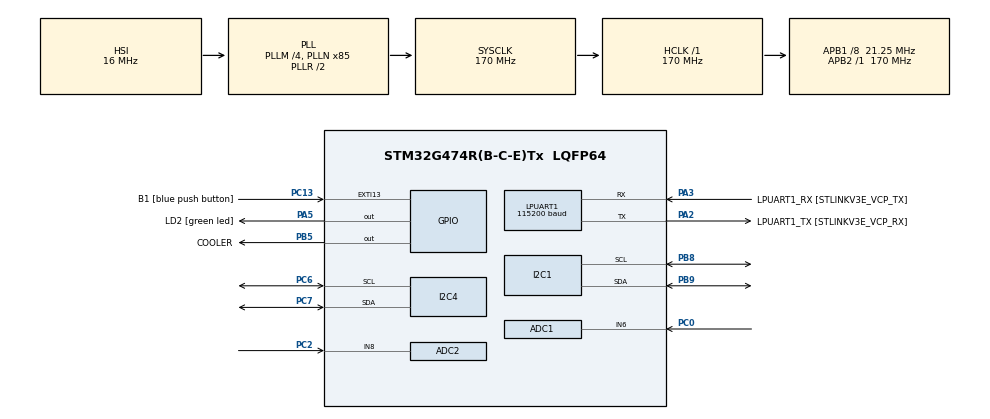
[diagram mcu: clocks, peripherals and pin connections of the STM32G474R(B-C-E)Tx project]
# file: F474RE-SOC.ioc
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ADC1.Channel-0\#ChannelRegularConversion=ADC_CHANNEL_6
ADC1.NbrOfConversionFlag=1
ADC1.OffsetNumber-0\#ChannelRegularConversion=ADC_OFFSET_NONE
ADC1.Rank-0\#ChannelRegularConversion=1
ADC1.SamplingTime-0\#ChannelRegularConversion=ADC_SAMPLETIME_2CYCLES_5
ADC1.master=1
ADC2.Channel-0\#ChannelRegularConversion=ADC_CHANNEL_8
ADC2.NbrOfConversionFlag=1
ADC2.OffsetNumber-0\#ChannelRegularConversion=ADC_OFFSET_NONE
ADC2.Rank-0\#ChannelRegularConversion=1
ADC2.SamplingTime-0\#ChannelRegularConversion=ADC_SAMPLETIME_2CYCLES_5
Dma.LPUART1_RX.0.Direction=DMA_PERIPH_TO_MEMORY
Dma.LPUART1_RX.0.EventEnable=DISABLE
Dma.LPUART1_RX.0.Instance=DMA1_Channel1
Dma.LPUART1_RX.0.MemDataAlignment=DMA_MDATAALIGN_BYTE
Dma.LPUART1_RX.0.MemInc=DMA_MINC_ENABLE
Dma.LPUART1_RX.0.Mode=DMA_CIRCULAR
Dma.LPUART1_RX.0.PeriphDataAlignment=DMA_PDATAALIGN_BYTE
Dma.LPUART1_RX.0.PeriphInc=DMA_PINC_DISABLE
Dma.LPUART1_RX.0.Polarity=HAL_DMAMUX_REQ_GEN_RISING
Dma.LPUART1_RX.0.Priority=DMA_PRIORITY_VERY_HIGH
Dma.LPUART1_RX.0.RequestNumber=1
Dma.LPUART1_RX.0.SignalID=NONE
Dma.LPUART1_RX.0.SyncEnable=DISABLE
Dma.LPUART1_RX.0.SyncPolarity=HAL_DMAMUX_SYNC_NO_EVENT
Dma.LPUART1_RX.0.SyncRequestNumber=1
Dma.LPUART1_RX.0.SyncSignalID=NONE
Dma.LPUART1_TX.1.Direction=DMA_MEMORY_TO_PERIPH
Dma.LPUART1_TX.1.EventEnable=DISABLE
Dma.LPUART1_TX.1.Instance=DMA1_Channel2
Dma.LPUART1_TX.1.MemDataAlignment=DMA_MDATAALIGN_BYTE
Dma.LPUART1_TX.1.MemInc=DMA_MINC_ENABLE
Dma.LPUART1_TX.1.Mode=DMA_NORMAL
Dma.LPUART1_TX.1.PeriphDataAlignment=DMA_PDATAALIGN_BYTE
Dma.LPUART1_TX.1.PeriphInc=DMA_PINC_DISABLE
Dma.LPUART1_TX.1.Polarity=HAL_DMAMUX_REQ_GEN_RISING
Dma.LPUART1_TX.1.Priority=DMA_PRIORITY_VERY_HIGH
Dma.LPUART1_TX.1.RequestNumber=1
Dma.LPUART1_TX.1.SignalID=NONE
Dma.LPUART1_TX.1.SyncEnable=DISABLE
Dma.LPUART1_TX.1.SyncPolarity=HAL_DMAMUX_SYNC_NO_EVENT
Dma.LPUART1_TX.1.SyncRequestNumber=1
Dma.LPUART1_TX.1.SyncSignalID=NONE
Dma.Request0=LPUART1_RX
Dma.Request1=LPUART1_TX
FREERTOS.Mutexes01=batteryCellSocMutex,Dynamic,NULL
FREERTOS.Tasks01=microROSTask,24,3100,microROSTaskFunction,Default,NULL,Dynamic,NULL,NULL;tempControlTask,8,128,temperatureControlTask,Default,NULL,Dynamic,NULL,NULL;BatteryState,24,300,BatteryStateFunction,Default,NULL,Dynamic,NULL,NULL;SocTask,40,128,SocTaskFunction,Default,NULL,Dynamic,NULL,NULL
FREERTOS.configTOTAL_HEAP_SIZE=24576
I2C1.Timing=0x0050527A
I2C4.Timing=0x0050527A
LPUART1.BaudRate=115200
LPUART1.WordLength=UART_WORDLENGTH_8B
Mcu.Family=STM32G4
Mcu.Name=STM32G474R(B-C-E)Tx
Mcu.Package=LQFP64
NVIC.DMA1_Channel1_IRQn=true\:5\:0\:false\:false\:true\:true\:false\:true
NVIC.DMA1_Channel2_IRQn=true\:5\:0\:false\:false\:true\:true\:false\:true
NVIC.EXTI15_10_IRQn=true\:5\:0\:false\:false\:true\:true\:true\:true
NVIC.LPUART1_IRQn=true\:5\:0\:false\:false\:true\:true\:true\:true
NVIC.PriorityGroup=NVIC_PRIORITYGROUP_4
NVIC.TIM6_DAC_IRQn=true\:15\:0\:false\:false\:true\:false\:false\:true
NVIC.TIM7_DAC_IRQn=true\:5\:0\:false\:false\:true\:true\:true\:true
NVIC.TimeBase=TIM6_DAC_IRQn
NVIC.TimeBaseIP=TIM6
PA13.GPIO_Label=T_SWDIO
PA13.Mode=Serial_Wire
PA13.Signal=SYS_JTMS-SWDIO
PA14.GPIO_Label=T_SWCLK
PA14.Mode=Serial_Wire
PA14.Signal=SYS_JTCK-SWCLK
PA2.GPIO_Label=LPUART1_TX [STLINKV3E_VCP_RX]
PA2.Mode=Asynchronous
PA2.Signal=LPUART1_TX
PA3.GPIO_Label=LPUART1_RX [STLINKV3E_VCP_TX]
PA3.Mode=Asynchronous
PA3.Signal=LPUART1_RX
PA5.GPIO_Label=LD2 [green led]
PA5.Signal=GPIO_Output
PB3.GPIO_Label=T_SWO
PB3.Signal=SYS_JTDO-SWO
PB5.GPIO_Label=COOLER
PB5.Signal=GPIO_Output
PB8-BOOT0.Mode=I2C
PB8-BOOT0.Signal=I2C1_SCL
PB9.Mode=I2C
PB9.Signal=I2C1_SDA
PC0.Mode=IN6-Single-Ended
PC0.Signal=ADC1_IN6
PC13.GPIO_Label=B1 [blue push button]
PC13.Signal=GPXTI13
PC14-OSC32_IN.Mode=LSE-External-Oscillator
PC14-OSC32_IN.Signal=RCC_OSC32_IN
PC15-OSC32_OUT.Mode=LSE-External-Oscillator
PC15-OSC32_OUT.Signal=RCC_OSC32_OUT
PC2.Mode=IN8-Single-Ended
PC2.Signal=ADC2_IN8
PC6.Mode=I2C
PC6.Signal=I2C4_SCL
PC7.Mode=I2C
PC7.Signal=I2C4_SDA
PF0-OSC_IN.Mode=HSE-External-Oscillator
PF0-OSC_IN.Signal=RCC_OSC_IN
PF1-OSC_OUT.Mode=HSE-External-Oscillator
PF1-OSC_OUT.Signal=RCC_OSC_OUT
ProjectManager.HeapSize=0x200
ProjectManager.StackSize=0x400
ProjectManager.TargetToolchain=STM32CubeIDE
RCC.ADC12Freq_Value=170000000
RCC.ADC345Freq_Value=170000000
RCC.AHBFreq_Value=170000000
RCC.APB1CLKDivider=RCC_HCLK_DIV8
RCC.APB1Freq_Value=21250000
RCC.APB1TimFreq_Value=42500000
RCC.APB2Freq_Value=170000000
RCC.APB2TimFreq_Value=170000000
RCC.CortexFreq_Value=170000000
RCC.EXTERNAL_CLOCK_VALUE=12288000
RCC.HCLKFreq_Value=170000000
RCC.HSE_VALUE=24000000
RCC.HSI48_VALUE=48000000
RCC.HSI_VALUE=16000000
RCC.PLLM=RCC_PLLM_DIV4
RCC.PLLN=85
RCC.RTCClockSelection=RCC_RTCCLKSOURCE_LSE
RCC.SYSCLKFreq_VALUE=170000000
RCC.SYSCLKSource=RCC_SYSCLKSOURCE_PLLCLK
RCC.USBFreq_Value=170000000
RCC.VCOOutputFreq_Value=340000000
TIM7.AutoReloadPreload=TIM_AUTORELOAD_PRELOAD_DISABLE
TIM7.PeriodNoDither=30000-1
TIM7.Prescaler=42500-1
VP_FREERTOS_VS_CMSIS_V2.Mode=CMSIS_V2
VP_SYS_VS_DBSignals.Mode=DisableDeadBatterySignals
VP_SYS_VS_tim6.Mode=TIM6
VP_TIM7_VS_ClockSourceINT.Mode=Enable_Timer
board=NUCLEO-G474RE

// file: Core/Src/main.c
/* USER CODE BEGIN Header */
/**
  ******************************************************************************
  * @file           : main.c
  * @brief          : Main program body
  ******************************************************************************
  * @attention
  *
  * <h2><center>&copy; Copyright (c) 2021 STMicroelectronics.
  * All rights reserved.</center></h2>
  *
  * This software component is licensed by ST under BSD 3-Clause license,
  * the "License"; You may not use this file except in compliance with the
  * License. You may obtain a copy of the License at:
  *                        opensource.org/licenses/BSD-3-Clause
  *
  ******************************************************************************
  */
/* USER CODE END Header */
#include "main.h"
#include "cmsis_os.h"
#include "adc.h"
#include "dma.h"
#include "i2c.h"
#include "usart.h"
#include "tim.h"
#include "gpio.h"

/* USER CODE BEGIN Includes */
#include "INA219.h"
/* USER CODE END Includes */

/* USER CODE BEGIN PV */
extern osThreadId_t tempControlTaskHandle;
//INA219_t ina219;
uint16_t i =-1;
/* USER CODE END PV */

void SystemClock_Config(void);
void MX_FREERTOS_Init(void);

int main(void)
{

  /* MCU Configuration--------------------------------------------------------*/

  /* Reset of all peripherals, Initializes the Flash interface and the Systick. */
  HAL_Init();

  /* Configure the system clock */
  SystemClock_Config();

  /* Initialize all configured peripherals */
  MX_GPIO_Init();
  MX_DMA_Init();
  MX_LPUART1_UART_Init();
  MX_I2C1_Init();
  MX_TIM7_Init();
  MX_ADC1_Init();
  MX_ADC2_Init();
  MX_I2C4_Init();
  /* USER CODE BEGIN 2 */
  HAL_TIM_Base_Start_IT(&htim7);
  //HAL_GPIO_TogglePin(LD2_GPIO_Port, LD2_Pin);
  INA219_init(hi2c4, INA219_ADDRESS);

  /* USER CODE END 2 */

  /* Init scheduler */
  osKernelInitialize();  /* Call init function for freertos objects (in freertos.c) */
  MX_FREERTOS_Init();
  /* Start scheduler */
  osKernelStart();

  /* We should never get here as control is now taken by the scheduler */
  /* Infinite loop */
  while (1)
  {

  }
}

void SystemClock_Config(void)
{
  RCC_OscInitTypeDef RCC_OscInitStruct = {0};
  RCC_ClkInitTypeDef RCC_ClkInitStruct = {0};
  RCC_PeriphCLKInitTypeDef PeriphClkInit = {0};

  /** Configure the main internal regulator output voltage
  */
  HAL_PWREx_ControlVoltageScaling(PWR_REGULATOR_VOLTAGE_SCALE1_BOOST);
  /** Initializes the RCC Oscillators according to the specified parameters
  * in the RCC_OscInitTypeDef structure.
  */
  RCC_OscInitStruct.OscillatorType = RCC_OSCILLATORTYPE_HSI;
  RCC_OscInitStruct.HSIState = RCC_HSI_ON;
  RCC_OscInitStruct.HSICalibrationValue = RCC_HSICALIBRATION_DEFAULT;
  RCC_OscInitStruct.PLL.PLLState = RCC_PLL_ON;
  RCC_OscInitStruct.PLL.PLLSource = RCC_PLLSOURCE_HSI;
  RCC_OscInitStruct.PLL.PLLM = RCC_PLLM_DIV4;
  RCC_OscInitStruct.PLL.PLLN = 85;
  RCC_OscInitStruct.PLL.PLLP = RCC_PLLP_DIV2;
  RCC_OscInitStruct.PLL.PLLQ = RCC_PLLQ_DIV2;
  RCC_OscInitStruct.PLL.PLLR = RCC_PLLR_DIV2;
  if (HAL_RCC_OscConfig(&RCC_OscInitStruct) != HAL_OK)
  {
    Error_Handler();
  }
  /** Initializes the CPU, AHB and APB buses clocks
  */
  RCC_ClkInitStruct.ClockType = RCC_CLOCKTYPE_HCLK|RCC_CLOCKTYPE_SYSCLK
                              |RCC_CLOCKTYPE_PCLK1|RCC_CLOCKTYPE_PCLK2;
  RCC_ClkInitStruct.SYSCLKSource = RCC_SYSCLKSOURCE_PLLCLK;
  RCC_ClkInitStruct.AHBCLKDivider = RCC_SYSCLK_DIV1;
  RCC_ClkInitStruct.APB1CLKDivider = RCC_HCLK_DIV8;
  RCC_ClkInitStruct.APB2CLKDivider = RCC_HCLK_DIV1;

  if (HAL_RCC_ClockConfig(&RCC_ClkInitStruct, FLASH_LATENCY_4) != HAL_OK)
  {
    Error_Handler();
  }
  /** Initializes the peripherals clocks
  */
  PeriphClkInit.PeriphClockSelection = RCC_PERIPHCLK_LPUART1|RCC_PERIPHCLK_I2C1
                              |RCC_PERIPHCLK_I2C4|RCC_PERIPHCLK_ADC12;
  PeriphClkInit.Lpuart1ClockSelection = RCC_LPUART1CLKSOURCE_PCLK1;
  PeriphClkInit.I2c1ClockSelection = RCC_I2C1CLKSOURCE_PCLK1;
  PeriphClkInit.I2c4ClockSelection = RCC_I2C4CLKSOURCE_PCLK1;
  PeriphClkInit.Adc12ClockSelection = RCC_ADC12CLKSOURCE_SYSCLK;
  if (HAL_RCCEx_PeriphCLKConfig(&PeriphClkInit) != HAL_OK)
  {
    Error_Handler();
  }
}

void HAL_TIM_PeriodElapsedCallback(TIM_HandleTypeDef *htim)
{
  if (htim->Instance == TIM6) {
    HAL_IncTick();
  }
  /* USER CODE BEGIN Callback 1 */
  if (htim->Instance == TIM7)
  {
	  osThreadFlagsSet(tempControlTaskHandle, READ_TEMPERATURE);
  }
  /* USER CODE END Callback 1 */
}

void Error_Handler(void)
{
  __disable_irq();
  while (1)
  {
  }
}

/************************ (C) COPYRIGHT STMicroelectronics *****END OF FILE****/

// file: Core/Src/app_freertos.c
/* USER CODE BEGIN Header */
/**
  ******************************************************************************
  * File Name          : app_freertos.c
  * Description        : Code for freertos applications
  ******************************************************************************
  * @attention
  *
  * <h2><center>&copy; Copyright (c) 2021 STMicroelectronics.
  * All rights reserved.</center></h2>
  *
  * This software component is licensed by ST under Ultimate Liberty license
  * SLA0044, the "License"; You may not use this file except in compliance with
  * the License. You may obtain a copy of the License at:
  *                             www.st.com/SLA0044
  *
  ******************************************************************************
  */
/* USER CODE END Header */

#include "FreeRTOS.h"
#include "task.h"
#include "main.h"
#include "cmsis_os.h"

/* USER CODE BEGIN Includes */
#include <rcl/rcl.h>
#include <rcl/error_handling.h>
#include <rclc/rclc.h>
#include <rclc/executor.h>
#include <uxr/client/transport.h>
#include <rmw_microxrcedds_c/config.h>
#include <rmw_microros/rmw_microros.h>
#include <rosidl_runtime_c/string.h>

#include <time.h>

#include <sensor_msgs/msg/temperature.h>             // for the ftemperature msg
#include <sensor_msgs/msg/battery_state.h>			 // for the battery state;
/*sensor's libraries*/
#include "LM75.h"
#include "INA219.h"
/* USER CODE END Includes */

/* USER CODE BEGIN PD */

#define TEMP_MAX 27.5
/* Thread Flags*/

#define READ_ftemperature 	  0x0001
#define BATTERY_DATA_READY  0x0002
#define SOC_READY 			  0x0003

/* USER CODE END PD */

/* USER CODE BEGIN Variables */

extern UART_HandleTypeDef hlpuart1;
extern ADC_HandleTypeDef hadc1;
extern ADC_HandleTypeDef hadc2;
extern I2C_HandleTypeDef hi2c4;

uint8_t address=0;

/*global variables - ftemperature, battery state, battery SOC*/
typedef struct battery{
	float fvoltage;
	float fadcConstant;
} battery;
typedef struct batteryCellSoc{
	battery batteryCell[2];
	float fcurrent;
	float ftemperature;
	float fpercentage;
	float fcapacity;
} batterySoc;

batterySoc soc;
uint32_t ui32now;
uint32_t ui32previous_time;

/*Micro-ros variables*/
rcl_allocator_t freeRTOS_allocator;;
rclc_support_t support;
rcl_allocator_t allocator;
rcl_node_t node;
rclc_executor_t executor;
rcl_init_options_t init_options;
rcl_node_options_t node_ops;

/* Publisher declaration */
rcl_publisher_t battery_state_pub;
/* ROS timer declaration */
rcl_timer_t timer;

/* Messages declaration */
sensor_msgs__msg__BatteryState battery_state_msg;

/* USER CODE END Variables */
/* Definitions for microROSTask */
osThreadId_t microROSTaskHandle;
const osThreadAttr_t microROSTask_attributes = {
  .name = "microROSTask",
  .priority = (osPriority_t) osPriorityNormal,
  .stack_size = 3100 * 4
};
/* Definitions for tempControlTask */
osThreadId_t tempControlTaskHandle;
const osThreadAttr_t tempControlTask_attributes = {
  .name = "tempControlTask",
  .priority = (osPriority_t) osPriorityLow,
  .stack_size = 128 * 4
};
/* Definitions for BatteryState */
osThreadId_t BatteryStateHandle;
const osThreadAttr_t BatteryState_attributes = {
  .name = "BatteryState",
  .priority = (osPriority_t) osPriorityNormal,
  .stack_size = 300 * 4
};
/* Definitions for SocTask */
osThreadId_t SocTaskHandle;
const osThreadAttr_t SocTask_attributes = {
  .name = "SocTask",
  .priority = (osPriority_t) osPriorityHigh,
  .stack_size = 128 * 4
};
/* Definitions for batteryCellSocMutex */
osMutexId_t batteryCellSocMutexHandle;
const osMutexAttr_t batteryCellSocMutex_attributes = {
  .name = "batteryCellSocMutex"
};

/* USER CODE BEGIN FunctionPrototypes */
bool cubemx_transport_open(struct uxrCustomTransport * transport);
bool cubemx_transport_close(struct uxrCustomTransport * transport);
size_t cubemx_transport_write(struct uxrCustomTransport* transport, const uint8_t * buf, size_t len, uint8_t * err);
size_t cubemx_transport_read(struct uxrCustomTransport* transport, uint8_t* buf, size_t len, int timeout, uint8_t* err);

void * microros_allocate(size_t size, void * state);
void microros_deallocate(void * pointer, void * state);
void * microros_reallocate(void * pointer, size_t size, void * state);
void * microros_zero_allocate(size_t number_of_elements, size_t size_of_element, void * state);

void timer_callback(rcl_timer_t * timer, int64_t last_call_time);
void cmd_vel_callback(const void * msgin);

double getftemperature(void);
void microrosConfig(void);
void microrosMessageAllocation(void);
//extern int clock_gettime( int clock_id, struct timespec * tp );
extern void UTILS_NanosecondsToTimespec( int64_t llSource, struct timespec * const pxDestination );

/* USER CODE END FunctionPrototypes */

void microROSTaskFunction(void *argument);
void ftemperatureControlTask(void *argument);
void BatteryStateFunction(void *argument);
void SocTaskFunction(void *argument);

void MX_FREERTOS_Init(void); /* (MISRA C 2004 rule 8.1) */

void MX_FREERTOS_Init(void) {
  /* Create the mutex(es) */
  /* creation of batteryCellSocMutex */
  batteryCellSocMutexHandle = osMutexNew(&batteryCellSocMutex_attributes);

  /* Create the thread(s) */
  /* creation of microROSTask */
  microROSTaskHandle = osThreadNew(microROSTaskFunction, NULL, &microROSTask_attributes);

  /* creation of tempControlTask */
  tempControlTaskHandle = osThreadNew(ftemperatureControlTask, NULL, &tempControlTask_attributes);

  /* creation of BatteryState */
  BatteryStateHandle = osThreadNew(BatteryStateFunction, NULL, &BatteryState_attributes);

  /* creation of SocTask */
  SocTaskHandle = osThreadNew(SocTaskFunction, NULL, &SocTask_attributes);

}

void microROSTaskFunction(void *argument)
{
  /* USER CODE BEGIN microROSTaskFunction */

	if(osThreadFlagsWait(SOC_READY, osFlagsWaitAny, 200)!=osFlagsErrorTimeout)
	{
		// micro-ROS configuration
		microrosConfig();
		// create battery_state publisher
		rclc_publisher_init_default(
			&battery_state_pub,
			&node,
			ROSIDL_GET_MSG_TYPE_SUPPORT(sensor_msgs, msg, BatteryState),
			"/battery_state");
		// allocate memory to messages
		microrosMessageAllocation();
		// Create a timer
		rclc_timer_init_default(&timer, &support, RCL_MS_TO_NS(100), timer_callback);
		// Create executor
		rclc_executor_init(&executor, &support.context, 2, &allocator);
		rclc_executor_add_timer(&executor, &timer);
		// Run executor
		rclc_executor_spin(&executor);
	}
  /* Infinite loop */
  for(;;)
  {
    osDelay(1);
  }
  /* USER CODE END microROSTaskFunction */
}

void ftemperatureControlTask(void *argument)
{
  /* USER CODE BEGIN ftemperatureControlTask */
  /* Infinite loop */
  for(;;)
  {
	  if(osThreadFlagsWait(READ_ftemperature, osFlagsWaitAny, 100)!=osFlagsErrorTimeout)
	  {
		  // get ftemperature
		  if (osMutexAcquire(batteryCellSocMutexHandle, 100) == osOK)
		  {
			  soc.ftemperature = getTemperature();
			  osMutexRelease(batteryCellSocMutexHandle);
		  }
		  if(soc.ftemperature >= TEMP_MAX)
		  {
			  HAL_GPIO_WritePin(COOLER_GPIO_Port, COOLER_Pin, GPIO_PIN_SET);
		  }
		  else
			  HAL_GPIO_WritePin(COOLER_GPIO_Port, COOLER_Pin, GPIO_PIN_RESET);
	  }
    osDelay(1);
  }
  /* USER CODE END ftemperatureControlTask */
}

void BatteryStateFunction(void *argument)
{
  /* USER CODE BEGIN BatteryStateFunction */
  /* Infinite loop */
  uint16_t raw;
  float fv1, fv2;
  float i= 0;
  uint8_t ui8Buff[2];
  HAL_StatusTypeDef halStatus;

  // battery constants
  soc.batteryCell[0].fadcConstant = (3.6*(10+56)/(10*4096));
  soc.batteryCell[1].fadcConstant = (3.6*(470+560)/(470*4096));
  for(;;)
  {
	  // get adc value
	  HAL_ADC_Start(&hadc1);
	  HAL_ADC_PollForConversion(&hadc1, HAL_MAX_DELAY);
	  raw = HAL_ADC_GetValue(&hadc1);
	  HAL_ADC_Stop(&hadc1);
	  //convert to V
	  fv1 = (float)raw*soc.batteryCell[0].fadcConstant;
	  // get adc value
	  HAL_ADC_Start(&hadc2);
	  HAL_ADC_PollForConversion(&hadc2, HAL_MAX_DELAY);
	  raw = HAL_ADC_GetValue(&hadc2);
	  //convert to V
	  fv2 = (float)raw*soc.batteryCell[1].fadcConstant -fv1;
	  HAL_ADC_Stop(&hadc2);
	  // get fcurrent
  	  ui8Buff[0]= 0x01;
      halStatus = HAL_I2C_Master_Transmit(&hi2c4, (0x40 << 1), ui8Buff, 1, 100);
      if(halStatus == HAL_OK)
      {
         halStatus = HAL_I2C_Master_Receive(&hi2c4, (0x40 << 1), ui8Buff, 2, 100);
         if(halStatus == HAL_OK)
         {
        	// Blink led to debug
           HAL_GPIO_TogglePin(LD2_GPIO_Port, LD2_Pin);
           i= (float)(ui8Buff[0]<<8 | ui8Buff[1])/10; // pois o resistor Shunt é de 100ohm, ou 0,1 kOhm (saida em miliVolt)
           if (i < 0)
               i = i * (-1);
           }
      }

	  //acquire mutex to write in the soc and set BATTERY_DATA_READY
	  if (osMutexAcquire(batteryCellSocMutexHandle, 10) == osOK)
	  {
		 soc.batteryCell[0].fvoltage = fv1;
		 soc.batteryCell[1].fvoltage = fv2;
		 soc.fcurrent = i;
		 osMutexRelease(batteryCellSocMutexHandle);
		 osThreadFlagsSet(SocTaskHandle, BATTERY_DATA_READY);
	  }
	  osDelay(1);
  }
  /* USER CODE END BatteryStateFunction */
}

void SocTaskFunction(void *argument)
{
  /* USER CODE BEGIN SocTaskFunction */
  /* Infinite loop */
  soc.fcapacity = 2.2; //Ah
  soc.fpercentage = 1;
  for(;;)
  {
	  if(osThreadFlagsWait(BATTERY_DATA_READY, osFlagsWaitAny, 200)!=osFlagsErrorTimeout)
	  {
		  // coulomb counting
		  ui32now = HAL_GetTick();
		  if (osMutexAcquire(batteryCellSocMutexHandle, 10) == osOK)
		  {
			 float fdsoc = 0.150*(ui32now-ui32previous_time)/(1000); // time in msec
			 soc.fpercentage -= (1/soc.fcapacity)*fdsoc;
			 osMutexRelease(batteryCellSocMutexHandle);
		  }
		  ui32previous_time = ui32now;
		  osThreadFlagsSet(microROSTaskHandle, SOC_READY);
	  }
    osDelay(1);
  }
  /* USER CODE END SocTaskFunction */
}

/* USER CODE BEGIN Application */
/* ***************************************************** */
/* Method name: timer_callback */
/* Method description: Executes the callback function to the microros task */
/* Input params: timer and the last call time */
/* Output params: NA*/
/* ***************************************************** */
void timer_callback(rcl_timer_t * timer, int64_t last_call_time)
{
	if (timer != NULL) {
		// Fill the message timestamp
		struct timespec ts;
		int64_t time_ns;
		time_ns = rmw_uros_epoch_nanos();
		UTILS_NanosecondsToTimespec(time_ns, &ts);
		// Publish message
		 battery_state_msg.header.stamp.sec = ts.tv_sec;
		 battery_state_msg.header.stamp.nanosec = ts.tv_nsec;
		 battery_state_msg.capacity = 2.2;
		 if (osMutexAcquire(batteryCellSocMutexHandle, 10) == osOK)
		 {
			 battery_state_msg.temperature = soc.ftemperature;
			 battery_state_msg.voltage = soc.batteryCell[1].fvoltage + soc.batteryCell[0].fvoltage;
			 battery_state_msg.current = soc.fcurrent;
			 battery_state_msg.percentage = soc.fpercentage;
			 osMutexRelease(batteryCellSocMutexHandle);
		 }
		 rcl_ret_t ret = rcl_publish(&battery_state_pub, &battery_state_msg, NULL);
		 if (ret != RCL_RET_OK)
		 {
			  printf("Error publishing battery state (line %d)\n", __LINE__);
		 }

	}
}

/* ***************************************************** */
/* Method name: microrosConfig */
/* Method description: Executes the configuration of the microros node  to the microros task */
/* Input params: NA*/
/* Output params: NA*/
/* ***************************************************** */
void microrosConfig()
{
	  rmw_uros_set_custom_transport(
		true,
		(void *) &hlpuart1,
		cubemx_transport_open,
		cubemx_transport_close,
		cubemx_transport_write,
		cubemx_transport_read);

	  freeRTOS_allocator = rcutils_get_zero_initialized_allocator();
	  freeRTOS_allocator.allocate = microros_allocate;
	  freeRTOS_allocator.deallocate = microros_deallocate;
	  freeRTOS_allocator.reallocate = microros_reallocate;
	  freeRTOS_allocator.zero_allocate =  microros_zero_allocate;

	  if (!rcutils_set_default_allocator(&freeRTOS_allocator)) {
		  printf("Error on default allocators (line %d)\n", __LINE__);
	  }

	  allocator = rcl_get_default_allocator();
	  init_options = rcl_get_zero_initialized_init_options();
	  rcl_ret_t ret = rcl_init_options_init(&init_options, allocator);
	  if(ret != RCL_RET_OK)
	  {
		  printf("Error on init options (line %d)\n", __LINE__);
	  }

	  // create init_options
	  rclc_support_init_with_options(&support, 0, NULL, &init_options, &allocator);

	  // create node
	  node_ops = rcl_node_get_default_options();
	  node_ops.domain_id = 25;
	  rclc_node_init_with_options(&node, "acquisition_system", "", &support, &node_ops);

	  //time sync
	  if( rmw_uros_sync_session(1000) != RMW_RET_OK)
		  printf("Error on time sync (line %d)\n", __LINE__);

}
/* ***************************************************** */
/* Method name: microrosMessageAllocation */
/* Method description: Do the memory allocation to the microros message. In this case
 * it is using the battery_state_msg*/
/* Input params: NA*/
/* Output params: NA*/

/* ***************************************************** */
void microrosMessageAllocation()
{
	  // battery_state_msg allocation
	  battery_state_msg.header.frame_id.capacity = 20;
	  battery_state_msg.header.frame_id.data = (char*) pvPortMalloc(battery_state_msg.header.frame_id.capacity  * sizeof(char));
	  battery_state_msg.header.frame_id.size = strlen(battery_state_msg.header.frame_id.data);

	  battery_state_msg.temperature = soc.ftemperature;
	  battery_state_msg.capacity =2.20;
	  battery_state_msg.present = true;

	  battery_state_msg.voltage = 0;
	  battery_state_msg.current = soc.fcurrent;
	  battery_state_msg.percentage = soc.fpercentage;
	  battery_state_msg.power_supply_health = sensor_msgs__msg__BatteryState__POWER_SUPPLY_STATUS_DISCHARGING;
	  battery_state_msg.power_supply_technology = sensor_msgs__msg__BatteryState__POWER_SUPPLY_TECHNOLOGY_LION;
}
/* USER CODE END Application */

/************************ (C) COPYRIGHT STMicroelectronics *****END OF FILE****/
